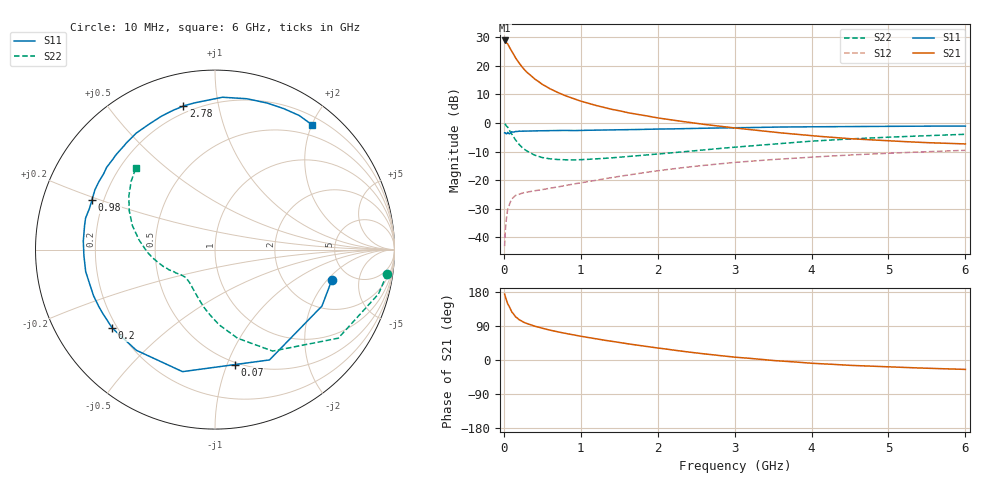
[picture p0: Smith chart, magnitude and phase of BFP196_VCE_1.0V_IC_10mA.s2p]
! Infineon Technologies  Discrete & RF Semiconductors
! BFP196
! VCE = 1.0 V,  IC =  10mA
! Common Emitter S-Parameters:  Jan 2016
# GHz  S  MA  R  50
!  f  S11  S21  S12  S22
! GHz  MAG  ANG  MAG  ANG  MAG  ANG  MAG  ANG
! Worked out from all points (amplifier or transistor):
!   210 points, 10 MHz to 6 GHz, reference 50 ohm
!   highest |S21| = 28.9 dB at 10 MHz (marker M1)
!   |S21| within 3 dB of that: start of sweep to 86 MHz
!   unconditionally stable (mu >= 1): 856.8 MHz to 5.357 GHz; 5.616 GHz to end of sweep
!   at 185 MHz: K = 0.31, MSG = 23.3 dB, |S12| = -25.1 dB
!   at 1.52 GHz: K = 1.16, MAG = 9.0 dB, |S12| = -18.6 dB
!   at 6 GHz: K = 1.01, MAG = 0.6 dB, |S12| = -9.6 dB
!   S11 on the Smith chart (normalised r, x): 10 MHz: 3.67, -2.24; 70 MHz: 0.48, -1.06; 200 MHz: 0.18, -0.33; 980 MHz: 0.16, +0.19; 2.78 GHz: 0.16, +0.79; 6 GHz: 0.32, +2.00
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0.01  0.6729 -14.4  27.77 173.9  0.007 85.4  0.969 -8.0
0.02  0.6738 -27.8  26.82 166.0  0.0136 76.4  0.9437 -15.2
0.05  0.6856 -63.7  24.15 148.2  0.031 61.9  0.8457 -35.7
0.07  0.6501 -80.3  21.5 141.2  0.0368 53.6  0.7517 -44.0
0.1  0.7036 -104.9  18.33 127.3  0.0464 45.3  0.6504 -60.4
0.15  0.7119 -128.0  13.9 114.4  0.0538 36.7  0.5097 -75.7
0.2  0.7204 -142.6  11.11 106.2  0.0569 32.6  0.4195 -86.9
0.26  0.721 -153.9  8.788 99.4  0.0603 30.5  0.352 -96.5
0.3  0.724 -159.3  7.698 95.9  0.0617 29.9  0.3234 -101.6
0.4  0.7308 -170.3  5.901 89.2  0.0652 30.3  0.2739 -112.1
0.5  0.7311 -177.3  4.739 83.7  0.0683 31.4  0.2485 -119.7
0.6  0.7353 176.3  3.968 78.7  0.0722 33.0  0.2361 -125.1
0.7  0.7385 170.4  3.423 74.0  0.076 34.5  0.2296 -129.5
0.98  0.7389 158.1  2.465 63.5  0.0888 38.4  0.2276 -138.4
1.02  0.7413 156.5  2.371 62.0  0.0907 38.8  0.2288 -139.3
1.4  0.758 142.8  1.737 49.5  0.1102 40.7  0.2453 -146.7
2.02  0.7837 123.4  1.217 31.2  0.1471 39.8  0.2875 -158.7
2.78  0.8185 102.5  0.888 12.3  0.1919 33.9  0.3556 -173.7
3.1  0.8282 95.6  0.792 6.0  0.2092 30.4  0.3867 -179.9
4.1  0.8593 76.5  0.584 -9.6  0.2573 19.5  0.4892 161.8
5.1  0.8748 62.7  0.48 -19.0  0.2996 8.4  0.5718 146.6
6  0.8807 52.3  0.43 -24.8  0.3327 -2.0  0.6341 134.0
